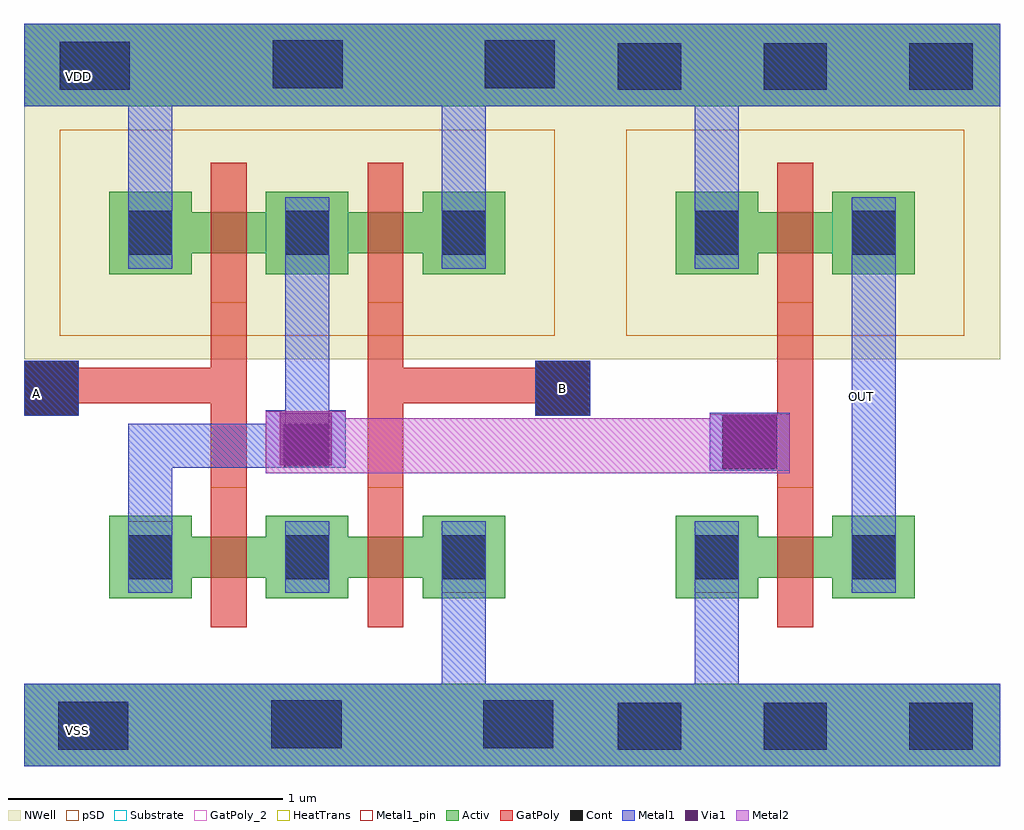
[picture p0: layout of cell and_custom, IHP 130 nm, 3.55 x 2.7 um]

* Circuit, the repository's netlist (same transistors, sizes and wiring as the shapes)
* Extracted by KLayout with SG13G2 LVS runset on : 28/02/2026 16:58

.SUBCKT and_custom VSS A B VDD OUT
X$1 B A VDD VSS \$1 nand_custom
X$2 VDD \$1 VSS OUT inv
.ENDS and_custom

.SUBCKT inv VDD VIN VSS VOUT
M$1 VSS VIN VOUT VSS sg13_lv_nmos L=0.13u W=0.15u AS=0.1005p AD=0.1005p
+ PS=1.34u PD=1.34u
M$2 VDD VIN VOUT VDD sg13_lv_pmos L=0.13u W=0.15u AS=0.1005p AD=0.1005p
+ PS=1.34u PD=1.34u
.ENDS inv

.SUBCKT nand_custom B A VDD VSS OUT
M$1 OUT A \$6 VSS sg13_lv_nmos L=0.13u W=0.15u AS=0.1005p AD=0.0555p PS=1.34u
+ PD=0.74u
M$2 \$6 B VSS VSS sg13_lv_nmos L=0.13u W=0.15u AS=0.0555p AD=0.1005p PS=0.74u
+ PD=1.34u
M$3 VDD A OUT VDD sg13_lv_pmos L=0.13u W=0.15u AS=0.1005p AD=0.0555p PS=1.34u
+ PD=0.74u
M$4 OUT B VDD VDD sg13_lv_pmos L=0.13u W=0.15u AS=0.0555p AD=0.1005p PS=0.74u
+ PD=1.34u
.ENDS nand_custom

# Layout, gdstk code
from math import pi, radians
import gdstk
lib = gdstk.Library(unit=1e-6, precision=5e-09)
def R(c, l, rs):  # rectangles x0, y0, x1, y1
    for r in rs: c.add(gdstk.rectangle(r[:2], r[2:], *l))
Activ = (1, 0)
GatPoly = (5, 0)
GatPoly_2 = (5, 2)
Cont = (6, 0)
Metal1 = (8, 0)
Metal1_pin = (8, 2)
Metal2 = (10, 0)
pSD = (14, 0)
Via1 = (19, 0)
NWell = (31, 0)
Substrate = (40, 0)
HeatTrans = (51, 0)

pmos_1_1 = lib.new_cell('pmos$1$1')
R(pmos_1_1, Activ, [(0,0,0.3,0.3), (0.57,0,0.87,0.3), (0,0.075,0.87,0.225)])
R(pmos_1_1, GatPoly, [(0.37,-0.105,0.5,0.405), (0.37,-0.105,0.5,0.405)])
R(pmos_1_1, Cont, [(0.07,0.07,0.23,0.23), (0.64,0.07,0.8,0.23)])
R(pmos_1_1, Metal1, [(0.07,0.02,0.23,0.28), (0.07,0.02,0.23,0.28), (0.64,0.02,0.8,0.28), (0.64,0.02,0.8,0.28)])
R(pmos_1_1, pSD, [(-0.18,-0.225,1.05,0.525)])
R(pmos_1_1, NWell, [(-0.31,-0.31,1.18,0.61)])
R(pmos_1_1, Substrate, [(0.57,0,0.87,0.3)])
R(pmos_1_1, HeatTrans, [(0.37,-0.105,0.5,0.405)])
pmos_1_1.add(gdstk.Label('pmos', (0.435,0.15), layer=63, texttype=0))
pmos_1_1.add(gdstk.Label('pmos', (0.435,0.15), layer=51, texttype=0))

nmos_1_1 = lib.new_cell('nmos$1$1')
R(nmos_1_1, Activ, [(0,0,0.3,0.3), (0.57,0,0.87,0.3), (0,0.075,0.87,0.225)])
R(nmos_1_1, GatPoly, [(0.37,-0.105,0.5,0.405)])
R(nmos_1_1, GatPoly_2, [(0.37,-0.105,0.5,0.405)])
R(nmos_1_1, Cont, [(0.07,0.07,0.23,0.23), (0.64,0.07,0.8,0.23)])
R(nmos_1_1, Metal1, [(0.07,0.02,0.23,0.28), (0.64,0.02,0.8,0.28)])
R(nmos_1_1, Metal1_pin, [(0.07,0.02,0.23,0.28), (0.64,0.02,0.8,0.28)])
R(nmos_1_1, HeatTrans, [(0.37,-0.105,0.5,0.405)])
nmos_1_1.add(gdstk.Label('nmos', (0.435,0.15), layer=63, texttype=0))
nmos_1_1.add(gdstk.Label('nmos', (0.435,0.15), layer=51, texttype=0))

inv = lib.new_cell('inv')
R(inv, Activ, [(0.24,0.255,1.73,0.555), (0.24,0.255,1.73,0.555), (0.24,2.655,1.73,2.955), (0.24,2.655,1.73,2.955)])
R(inv, GatPoly, [(0.92,0.76,1.05,2.45), (0.92,0.76,1.05,2.45), (0.72,1.335,0.92,1.535), (0.72,1.335,0.92,1.535)])
R(inv, Cont, [(0.34,0.315,0.57,0.485), (0.34,0.315,0.57,0.485), (0.87,0.315,1.1,0.485), (0.87,0.315,1.1,0.485), (1.4,0.315,1.63,0.485), (1.4,0.315,1.63,0.485), (0.72,1.335,0.92,1.535), (0.72,1.335,0.92,1.535), (0.34,2.715,0.57,2.885), (0.34,2.715,0.57,2.885), (0.87,2.715,1.1,2.885), (0.87,2.715,1.1,2.885), (1.4,2.715,1.63,2.885), (1.4,2.715,1.63,2.885)])
R(inv, Metal1, [(0.24,0.255,1.73,0.555), (0.24,0.255,1.73,0.555), (0.62,0.255,0.78,1.145), (0.62,0.255,0.78,1.145), (1.19,0.885,1.35,2.325), (1.19,0.885,1.35,2.325), (0.72,1.335,0.92,1.535), (0.72,1.335,0.92,1.535), (0.62,2.065,0.78,2.955), (0.62,2.065,0.78,2.955), (0.24,2.655,1.73,2.955), (0.24,2.655,1.73,2.955)])
R(inv, Metal1_pin, [(0.24,0.255,1.73,0.555), (0.24,0.255,1.73,0.555), (1.19,0.885,1.35,2.325), (1.19,0.885,1.35,2.325), (0.72,1.335,0.92,1.535), (0.72,1.335,0.92,1.535), (0.24,2.655,1.73,2.955), (0.24,2.655,1.73,2.955)])
R(inv, pSD, [(0.24,0.255,1.73,0.555), (0.24,0.255,1.73,0.555)])
R(inv, NWell, [(0.24,2.655,1.73,2.955), (0.24,2.655,1.73,2.955)])
inv.add(gdstk.Reference(pmos_1_1, (0.55,2.045)))
inv.add(gdstk.Reference(nmos_1_1, (0.55,0.865)))
inv.add(gdstk.Label('VIN', (0.78,1.435), layer=8, texttype=25))
inv.add(gdstk.Label('VSS', (0.95,0.37), layer=8, texttype=25))
inv.add(gdstk.Label('VOUT', (1.2,1.665), layer=8, texttype=25))
inv.add(gdstk.Label('VDD', (0.96,2.805), layer=8, texttype=25))
inv.add(gdstk.Label('VIN', (0.78,1.435), layer=8, texttype=25))
inv.add(gdstk.Label('VSS', (0.95,0.37), layer=8, texttype=25))
inv.add(gdstk.Label('VOUT', (1.2,1.665), layer=8, texttype=25))
inv.add(gdstk.Label('VDD', (0.96,2.805), layer=8, texttype=25))

nmos_2 = lib.new_cell('nmos$2')
R(nmos_2, Activ, [(0,0,0.3,0.3), (0.57,0,0.87,0.3), (0,0.075,0.87,0.225)])
R(nmos_2, GatPoly, [(0.37,-0.105,0.5,0.405)])
R(nmos_2, GatPoly_2, [(0.37,-0.105,0.5,0.405)])
R(nmos_2, Cont, [(0.07,0.07,0.23,0.23), (0.64,0.07,0.8,0.23)])
R(nmos_2, Metal1, [(0.07,0.02,0.23,0.28), (0.64,0.02,0.8,0.28)])
R(nmos_2, Metal1_pin, [(0.07,0.02,0.23,0.28), (0.64,0.02,0.8,0.28)])
R(nmos_2, HeatTrans, [(0.37,-0.105,0.5,0.405)])
nmos_2.add(gdstk.Label('nmos', (0.435,0.15), layer=63, texttype=0))
nmos_2.add(gdstk.Label('nmos', (0.435,0.15), layer=51, texttype=0))

pmos_2 = lib.new_cell('pmos$2')
R(pmos_2, Activ, [(0,0,0.3,0.3), (0.57,0,0.87,0.3), (0,0.075,0.87,0.225)])
R(pmos_2, GatPoly, [(0.37,-0.105,0.5,0.405), (0.37,-0.105,0.5,0.405)])
R(pmos_2, Cont, [(0.07,0.07,0.23,0.23), (0.64,0.07,0.8,0.23)])
R(pmos_2, Metal1, [(0.07,0.02,0.23,0.28), (0.07,0.02,0.23,0.28), (0.64,0.02,0.8,0.28), (0.64,0.02,0.8,0.28)])
R(pmos_2, pSD, [(-0.18,-0.225,1.05,0.525)])
R(pmos_2, NWell, [(-0.31,-0.31,1.18,0.61)])
R(pmos_2, Substrate, [(0.57,0,0.87,0.3)])
R(pmos_2, HeatTrans, [(0.37,-0.105,0.5,0.405)])
pmos_2.add(gdstk.Label('pmos', (0.435,0.15), layer=63, texttype=0))
pmos_2.add(gdstk.Label('pmos', (0.435,0.15), layer=51, texttype=0))

nand_custom = lib.new_cell('nand_custom')
R(nand_custom, Activ, [(0.95,1.7,3.01,2), (0.95,1.7,3.01,2), (0.95,4.1,3.01,4.4), (0.95,4.1,3.01,4.4)])
R(nand_custom, GatPoly, [(1.63,2.205,1.76,3.895), (1.63,2.205,1.76,3.895), (2.2,2.205,2.33,3.895), (2.2,2.205,2.33,3.895), (0.95,2.975,1.15,3.175), (0.95,2.975,1.15,3.175), (2.81,2.975,3.01,3.175), (2.81,2.975,3.01,3.175), (1.15,3.02,1.76,3.15), (1.15,3.02,1.76,3.15), (2.2,3.02,2.81,3.15), (2.2,3.02,2.81,3.15)])
R(nand_custom, Cont, [(1.075,1.76,1.33,1.935), (1.075,1.76,1.33,1.935), (1.85,1.765,2.105,1.94), (1.85,1.765,2.105,1.94), (2.62,1.765,2.875,1.94), (2.62,1.765,2.875,1.94), (1.895,2.785,2.06,2.945), (1.895,2.785,2.06,2.945), (0.95,2.975,1.15,3.175), (0.95,2.975,1.15,3.175), (2.81,2.975,3.01,3.175), (2.81,2.975,3.01,3.175), (1.08,4.16,1.335,4.335), (1.08,4.16,1.335,4.335), (1.855,4.165,2.11,4.34), (1.855,4.165,2.11,4.34), (2.625,4.165,2.88,4.34), (2.625,4.165,2.88,4.34)])
R(nand_custom, Metal1, [(0.95,1.7,3.01,2), (0.95,1.7,3.01,2), (2.47,1.7,2.63,2.59), (2.47,1.7,2.63,2.59), (1.33,2.33,1.49,2.945), (1.33,2.33,1.49,2.945), (1.33,2.785,2.06,2.945), (1.33,2.785,2.06,2.945), (1.9,2.785,2.06,3.77), (1.9,2.785,2.06,3.77), (0.95,2.975,1.15,3.175), (0.95,2.975,1.15,3.175), (2.81,2.975,3.01,3.175), (2.81,2.975,3.01,3.175), (1.33,3.51,1.49,4.4), (1.33,3.51,1.49,4.4), (2.47,3.51,2.63,4.4), (2.47,3.51,2.63,4.4), (0.95,4.1,3.01,4.4), (0.95,4.1,3.01,4.4)])
R(nand_custom, Metal1_pin, [(0.95,1.7,3.01,2), (0.95,1.7,3.01,2), (1.9,2.785,2.06,3.77), (1.9,2.785,2.06,3.77), (0.95,2.975,1.15,3.175), (0.95,2.975,1.15,3.175), (2.81,2.975,3.01,3.175), (2.81,2.975,3.01,3.175), (0.95,4.1,3.01,4.4), (0.95,4.1,3.01,4.4)])
R(nand_custom, pSD, [(0.95,1.7,3.01,2), (0.95,1.7,3.01,2)])
R(nand_custom, NWell, [(0.95,4.1,3.01,4.4), (0.95,4.1,3.01,4.4)])
nand_custom.add(gdstk.Reference(nmos_2, (1.26,2.31)))
nand_custom.add(gdstk.Reference(nmos_2, (1.83,2.31)))
nand_custom.add(gdstk.Reference(pmos_2, (2.7,3.79), rotation=pi))
nand_custom.add(gdstk.Reference(pmos_2, (1.26,3.49)))
nand_custom.add(gdstk.Label('VSS', (1.94,1.84), layer=8, texttype=25))
nand_custom.add(gdstk.Label('A', (1.05,3.075), layer=8, texttype=25))
nand_custom.add(gdstk.Label('OUT', (1.925,2.83), layer=8, texttype=25))
nand_custom.add(gdstk.Label('B', (2.89,3.08), layer=8, texttype=25))
nand_custom.add(gdstk.Label('VDD', (1.93,4.21), layer=8, texttype=25))
nand_custom.add(gdstk.Label('VSS', (1.94,1.84), layer=8, texttype=25))
nand_custom.add(gdstk.Label('A', (1.05,3.075), layer=8, texttype=25))
nand_custom.add(gdstk.Label('OUT', (1.925,2.83), layer=8, texttype=25))
nand_custom.add(gdstk.Label('B', (2.89,3.08), layer=8, texttype=25))
nand_custom.add(gdstk.Label('VDD', (1.93,4.21), layer=8, texttype=25))

via_stack_1 = lib.new_cell('via_stack$1')
R(via_stack_1, Metal1, [(-0.145,-0.105,0.145,0.105)])
R(via_stack_1, Metal2, [(-0.145,-0.1,0.145,0.1)])
R(via_stack_1, Via1, [(-0.095,-0.095,0.095,0.095)])

and_custom = lib.new_cell('and_custom')
R(and_custom, Metal2, [(2.61,1.32,4.515,1.52)])
and_custom.add(gdstk.Reference(inv, (3.55,0)))
and_custom.add(gdstk.Reference(nand_custom, (0.78,-1.445)))
and_custom.add(gdstk.Reference(via_stack_1, (4.37,1.435)))
and_custom.add(gdstk.Reference(via_stack_1, (2.755,1.445)))
and_custom.add(gdstk.Label('A', (1.775,1.61), layer=8, texttype=25))
and_custom.add(gdstk.Label('B', (3.69,1.63), layer=8, texttype=25))
and_custom.add(gdstk.Label('VSS', (1.925,0.385), layer=8, texttype=25))
and_custom.add(gdstk.Label('VDD', (1.93,2.765), layer=8, texttype=25))
and_custom.add(gdstk.Label('OUT', (4.775,1.6), layer=8, texttype=25))

lib.write_gds('and_custom.gds')
